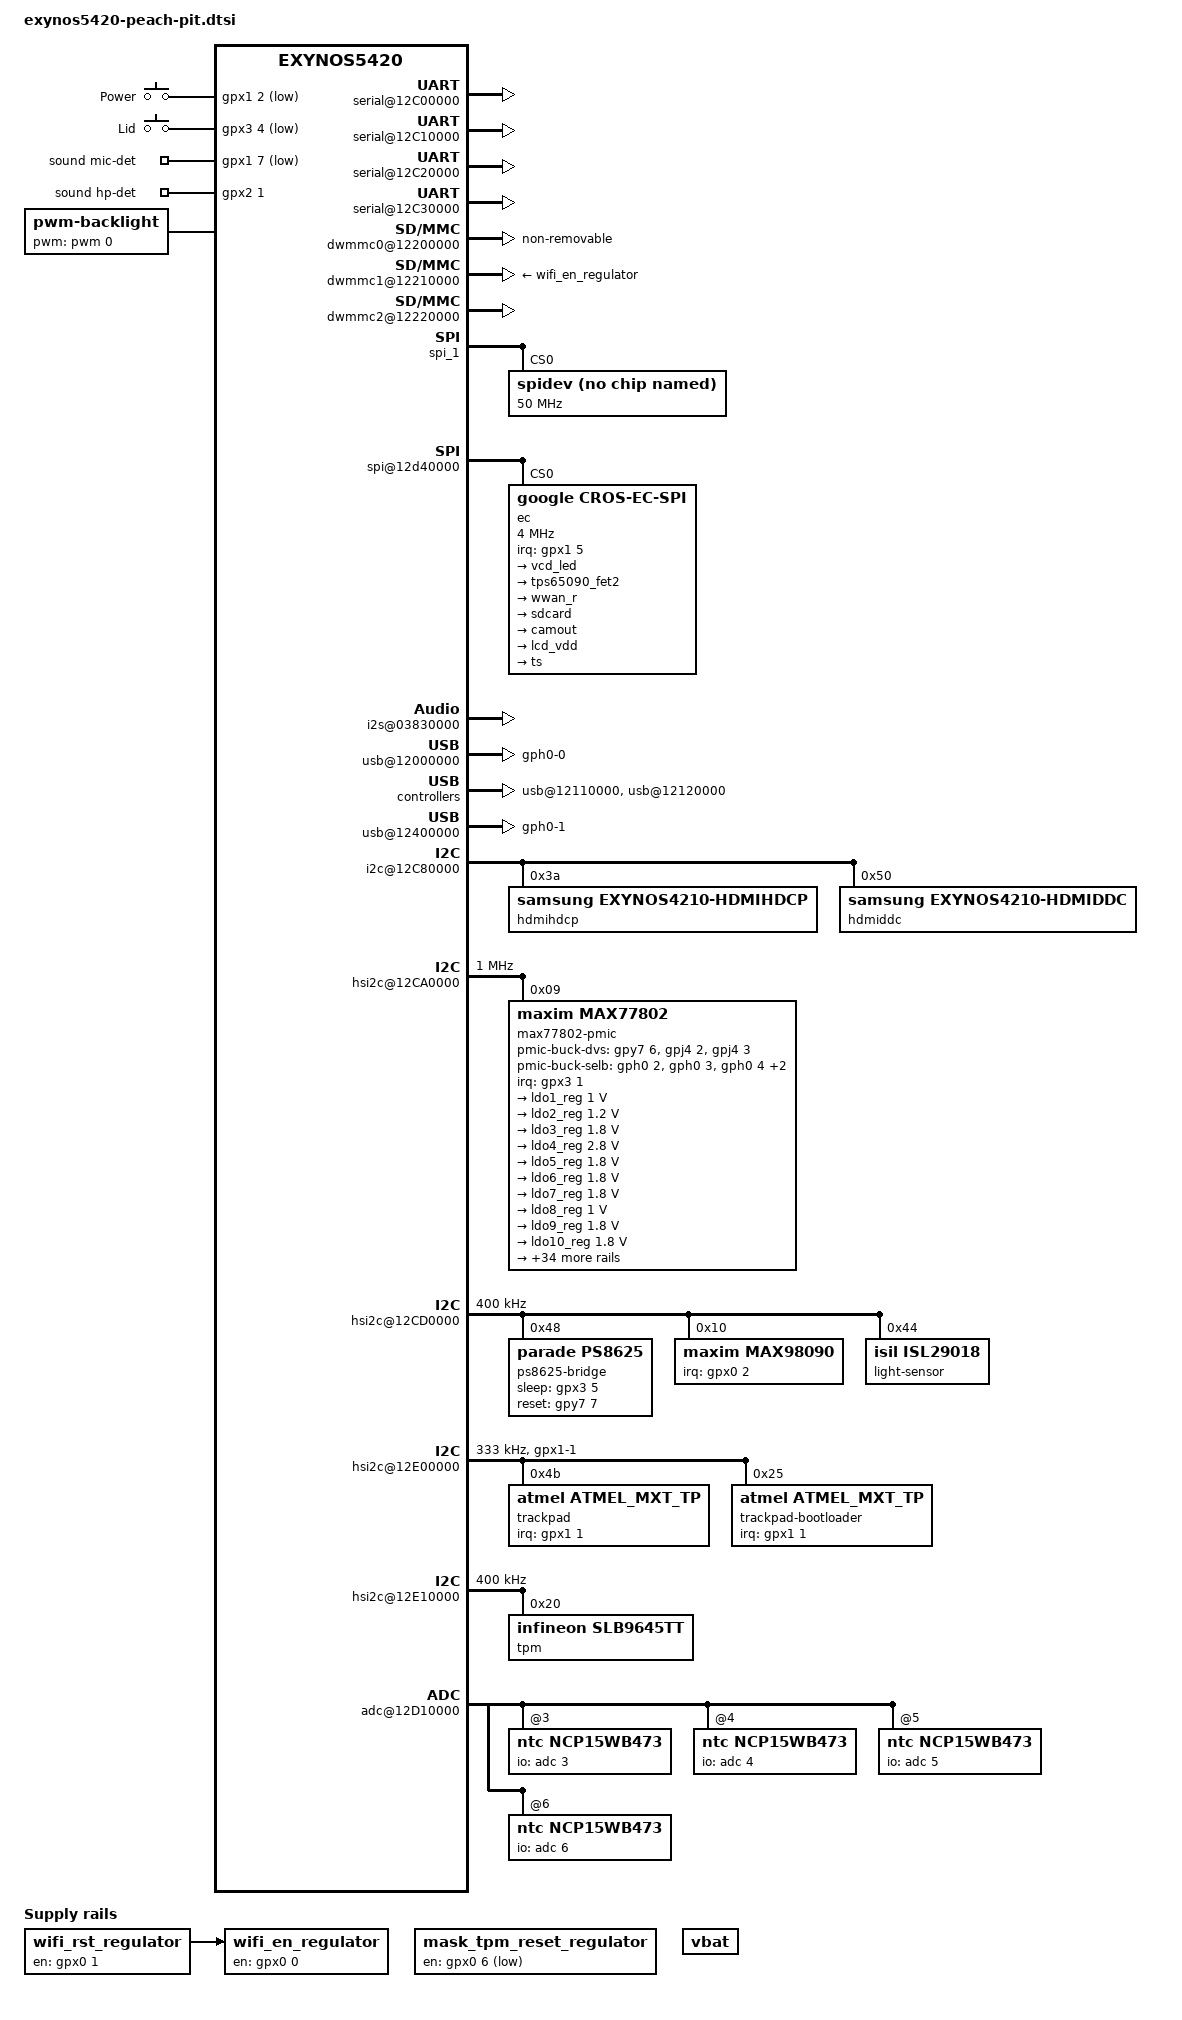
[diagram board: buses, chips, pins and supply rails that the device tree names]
/*
 * Common device tree include for all Peach Pit board revisions
 *
 * Copyright (c) 2013 Google, Inc
 *
 * This program is free software; you can redistribute it and/or modify
 * it under the terms of the GNU General Public License version 2 as
 * published by the Free Software Foundation.
 */

/ {
	aliases {
		i2c20 = &i2c_20;
	};

	chosen {
		bootargs = "";
	};

	firmware {
		chromeos {
			write-protect-gpio = <&gpx3 0 1>;

			pinctrl-names = "default";
			pinctrl-0 = <&wp_gpio>;

			nonvolatile-context-storage = "mkbp";
			chromeos-vbc-ec = <&ec>;
		};
	};

	fixed-rate-clocks {
		xxti {
			compatible = "samsung,clock-xxti";
			clock-frequency = <24000000>;
		};
	};

	pinctrl@13400000 {
		dp_hpd: dp-hpd {
			samsung,pins = "gpx2-6";
			samsung,pin-function = <0>;
			samsung,pin-pud = <3>;
			samsung,pin-drv = <0>;
		};

		ec_irq: ec-irq {
			samsung,pins = "gpx1-5";
			samsung,pin-function = <0>;
			samsung,pin-pud = <0>;
			samsung,pin-drv = <0>;
		};

		hp_det_gpio: hp-det-gpio {
			samsung,pins = "gpx2-1";
			samsung,pin-function = <0>;
			samsung,pin-pud = <0>;
			samsung,pin-drv = <0>;
		};

		hsic_reset: hsic-reset {
			samsung,pins = "gpx2-4";
			samsung,pin-function = <1>;
			samsung,pin-pud = <0>;
			samsung,pin-drv = <0>;
		};

		lid_irq: lid-irq {
			samsung,pins = "gpx3-4";
			samsung,pin-function = <0>;
			samsung,pin-pud = <0>;
			samsung,pin-drv = <0>;
		};

		mask_tpm_reset: mask-tpm-reset {
			samsung,pins = "gpx0-6";
			samsung,pin-function = <1>;
			samsung,pin-pud = <0>;
			samsung,pin-drv = <0>;
		};

		max77802_irq: max77802-irq {
			samsung,pins = "gpx3-1";
			samsung,pin-function = <0>;
			samsung,pin-pud = <0>;
			samsung,pin-drv = <0>;
		};

		max98090_irq: max98090-irq {
			samsung,pins = "gpx0-2";
			samsung,pin-function = <0>;
			samsung,pin-pud = <0>;
			samsung,pin-drv = <0>;
		};

		mic_det_gpio: mic-det-gpio {
			samsung,pins = "gpx1-7";
			samsung,pin-function = <0>;
			samsung,pin-pud = <0>;
			samsung,pid-drv = <0>;
		};

		pmic_dvs_1: pmic-dvs-1 {
			samsung,pins = "gpy7-6";
			samsung,pin-function = <1>;
			samsung,pin-pud = <0>;
			samsung,pin-drv = <0>;
		};

		power_key_irq: power-key-irq {
			samsung,pins = "gpx1-2";
			samsung,pin-function = <0>;
			samsung,pin-pud = <0>;
			samsung,pin-drv = <0>;
		};

		ps8625_reset: ps8625-reset {
			samsung,pins = "gpy7-7";
			samsung,pin-function = <1>;
			samsung,pin-pud = <0>;
			samsung,pin-drv = <0>;
		};

		ps8625_sleep: ps8625-sleep {
			samsung,pins = "gpx3-5";
			samsung,pin-function = <1>;
			samsung,pin-pud = <0>;
			samsung,pin-drv = <0>;
		};

		tpm_irq: tpm-irq {
			samsung,pins = "gpx1-0";
			samsung,pin-function = <0>;
			samsung,pin-pud = <0>;
			samsung,pin-drv = <0>;
		};

		tps65090_irq: tps65090-irq {
			samsung,pins = "gpx2-5";
			samsung,pin-function = <0>;
			samsung,pin-pud = <0>;
			samsung,pin-drv = <0>;
		};

		trackpad_irq: trackpad-irq {
			samsung,pins = "gpx1-1";
			samsung,pin-function = <0>;
			samsung,pin-pud = <0>;
			samsung,pin-drv = <0>;
		};

		wifi_en: wifi-en {
			samsung,pins = "gpx0-0";
			samsung,pin-function = <1>;
			samsung,pin-pud = <0>;
			samsung,pin-drv = <0>;
		};

		wifi_rst: wifi-rst {
			samsung,pins = "gpx0-1";
			samsung,pin-function = <1>;
			samsung,pin-pud = <0>;
			samsung,pin-drv = <0>;
		};

		wp_gpio: wp-gpio {
			samsung,pins = "gpx3-0";
			samsung,pin-function = <0>;
			samsung,pin-pud = <0>;
			samsung,pin-drv = <0>;
		};
	};

	pinctrl@13410000 {
		/* Adjust WiFi drive strengths lower for EMI */
		sd1_clk: sd1-clk {
			samsung,pin-drv = <0>;
		};
		sd1_cmd: sd1-cmd {
			samsung,pin-drv = <0>;
		};
		sd1_bus4: sd1-bus-width4 {
			samsung,pin-drv = <0>;
		};
		sd1_bus8: sd1-bus-width8 {
			samsung,pin-drv = <0>;
		};
	};

	pinctrl@14000000 {
		pmic_dvs_2: pmic-dvs-2 {
			samsung,pins = "gpj4-2";
			samsung,pin-function = <1>;
			samsung,pin-pud = <0>;
			samsung,pin-drv = <0>;
		};

		pmic_dvs_3: pmic-dvs-3 {
			samsung,pins = "gpj4-3";
			samsung,pin-function = <1>;
			samsung,pin-pud = <0>;
			samsung,pin-drv = <0>;
		};
	};

	pinctrl@14010000 {
		/*
		 * TODO(sjg@chromium.org: Do we need this
		 * drive strength 3? Need to test.
		 */
		ec_spi_cs: ec-spi-cs {
			samsung,pins = "gpb1-2";
			samsung,pin-function = <1>;
			samsung,pin-pud = <0>;
			samsung,pin-drv = <3>;
		};

		spi_flash_cs: spi-flash-cs {
			samsung,pins = "gpa2-5";
			samsung,pin-function = <1>;
			samsung,pin-pud = <0>;
			samsung,pin-drv = <3>;
		};

		usb3_vbus0_en: usb3-vbus0-en {
			samsung,pins = "gph0-0";
			samsung,pin-function = <1>;
			samsung,pin-pud = <0>;
			samsung,pin-drv = <0>;
		};

		usb3_vbus1_en: usb3-vbus1-en {
			samsung,pins = "gph0-1";
			samsung,pin-function = <1>;
			samsung,pin-pud = <0>;
			samsung,pin-drv = <0>;
		};

		pmic_selb: pmic-selb {
			samsung,pins = "gph0-2", "gph0-3", "gph0-4", "gph0-5",
				       "gph0-6";
			samsung,pin-function = <1>;
			samsung,pin-pud = <0>;
			samsung,pin-drv = <0>;
		};

		backlight_pwm: backlight-pwm {
			samsung,pins = "gpb2-0";
			samsung,pin-function = <2>;
			samsung,pin-pud = <0>;
			samsung,pin-drv = <0>;
		};
	};

	gpio-keys {
		compatible = "gpio-keys";

		pinctrl-names = "default";
		pinctrl-0 = <&power_key_irq &lid_irq>;

		power {
			label = "Power";
			gpios = <&gpx1 2 1>;
			linux,code = <116>; /* KEY_POWER */
			gpio-key,wakeup;
		};

		lid-switch {
			label = "Lid";
			gpios = <&gpx3 4 1>;
			linux,input-type = <5>; /* EV_SW */
			linux,code = <0>; /* SW_LID */
			debounce-interval = <1>;
			gpio-key,wakeup;
		};
	};

	ramoops {
		compatible = "ramoops";
		reg = <0x41f00000 0x00100000>;
		record-size = <0x00020000>;
		dump-oops;
	};

	watchdog {
		status = "okay";
	};

	rtc {
		status = "okay";
	};

	/* TODO: Should only enable UART3? */
	serial@12C00000 {
		status = "okay";
	};

	serial@12C10000 {
		status = "okay";
	};

	serial@12C20000 {
		status = "okay";
	};

	serial@12C30000 {
		status = "okay";
	};

	codec@11000000 {
		samsung,mfc-r = <0x43000000 0x800000>;
		samsung,mfc-l = <0x51000000 0x800000>;
	};

	dwmmc0@12200000 {
		status = "okay";
		num-slots = <1>;
		broken-cd;
		bypass-smu;
		supports-highspeed;
		non-removable;
		fifo-depth = <0x40>;
		card-detect-delay = <200>;
		samsung,dw-mshc-ciu-div = <3>;
		samsung,dw-mshc-sdr-timing = <0 4>;
		samsung,dw-mshc-ddr-timing = <0 2>;
		pinctrl-names = "default";
		pinctrl-0 = <&sd0_clk &sd0_cmd &sd0_bus4 &sd0_bus8>;
		slot@0 {
			reg = <0>;
			bus-width = <8>;
		};
	};

	dwmmc1@12210000 {
		/*
		 * The current best way to ensure that reset/enable and clocks
		 * are available before we try to probe the WiFi card is through
		 * a chain of regulators.
		 */
		vmmc-supply = <&wifi_en_regulator>;

		status = "okay";
		num-slots = <1>;
		supports-highspeed;
		keep-power-in-suspend;
		/* non-removable NOT set so mwifiex driver can use reset trick */
		broken-cd;
		bypass-smu;
		fifo-depth = <0x40>;
		card-detect-delay = <200>;
		clock-frequency = <400000000>;
		samsung,dw-mshc-ciu-div = <3>;
		samsung,dw-mshc-sdr-timing = <4 4>;
		samsung,dw-mshc-ddr-timing = <0 2>;
		pinctrl-names = "default";
		pinctrl-0 = <&sd1_clk &sd1_cmd &sd1_int &sd1_bus4 &sd1_bus8>;
		slot@0 {
			reg = <0>;
			bus-width = <4>;
		};
	};

	dwmmc2@12220000 {
		status = "okay";
		num-slots = <1>;
		supports-highspeed;
		fifo-depth = <0x40>;
		card-detect-delay = <200>;
		samsung,dw-mshc-ciu-div = <3>;
		samsung,dw-mshc-sdr-timing = <2 3>;
		samsung,dw-mshc-ddr-timing = <1 2>;
		pinctrl-names = "default";
		pinctrl-0 = <&sd2_clk &sd2_cmd &sd2_cd &sd2_bus4>;
		slot@0 {
			reg = <0>;
			bus-width = <4>;
			wp-gpios = <&gpc4 0 0>;
		};
	};

	/* TODO: Add fimd, display port, etc */

	spi_1: spi@12d30000 {
		status = "okay";
		samsung,spi-src-clk = <0>;
		num-cs = <1>;

		spidev@0 {
			compatible = "spidev";
			reg = <0>;
			spi-max-frequency = <50000000>;
			pinctrl-names = "default";
			pinctrl-0 = <&spi_flash_cs>;

			controller-data {
				cs-gpio = <&gpa2 5 0>;
				samsung,spi-feedback-delay = <2>;
			};
		};
	};

	/* spi_2 */
	spi@12d40000 {
		status = "okay";
		samsung,spi-src-clk = <0>;
		num-cs = <1>;
		ec: cros-ec@0 {
			compatible = "google,cros-ec-spi";

			spi-max-frequency = <4000000>;

			pinctrl-names = "default";
			pinctrl-0 = <&ec_spi_cs &ec_irq>;

			reg = <0>;
			interrupts = <5 0>;
			interrupt-parent = <&gpx1>;

			controller-data {
				cs-gpio = <&gpb1 2 0>;

				samsung,spi-feedback-delay = <2>;
			};

			/* Arbitrarily assign bus 20 since past exynos range */
			i2c_20: i2c-tunnel {
				compatible = "google,cros-ec-i2c-tunnel";
				#address-cells = <1>;
				#size-cells = <0>;

				google,remote-bus = <0>;
				power-regulator@48 {
					compatible = "ti,tps65090";
					reg = <0x48>;

					/*
					 * Config irq to disable internal pulls
					 * even though we run in polling mode.
					 */
					pinctrl-names = "default";
					pinctrl-0 = <&tps65090_irq>;

					vsys1-supply = <&vbat>;
					vsys2-supply = <&vbat>;
					vsys3-supply = <&vbat>;
					infet1-supply = <&vbat>;
					infet2-supply = <&vbat>;
					infet3-supply = <&vbat>;
					infet4-supply = <&vbat>;
					infet5-supply = <&vbat>;
					infet6-supply = <&vbat>;
					infet7-supply = <&vbat>;
					vsys-l1-supply = <&vbat>;
					vsys-l2-supply = <&vbat>;

					regulators {
						dcdc1 {
							ti,enable-ext-control;
						};
						dcdc2 {
							ti,enable-ext-control;
						};
						dcdc3 {
							ti,enable-ext-control;
						};
						fet1 {
							regulator-name = "vcd_led";
						};
						tps65090_fet2: fet2 {
							regulator-name = "video_mid";
							regulator-always-on;
						};
						fet3 {
							regulator-name = "wwan_r";
							regulator-always-on;
						};
						fet4 {
							regulator-name = "sdcard";
							regulator-always-on;
						};
						fet5 {
							regulator-name = "camout";
							regulator-always-on;
						};
						fet6 {
							regulator-name = "lcd_vdd";
						};
						fet7 {
							regulator-name = "ts";
						};
						ldo1 {
						};
						ldo2 {
						};
					};

					charger {
						compatible = "ti,tps65090-charger";
					};
				};

				battery: sbs-battery@b {
					compatible = "sbs,sbs-battery";
					reg = <0xb>;
					sbs,poll-retry-count = <1>;
				};
			};

			keyboard-controller {
				compatible = "google,cros-ec-keyb";
				keypad,num-rows = <8>;
				keypad,num-columns = <13>;
				google,needs-ghost-filter;
				linux,keymap = <0x0001007d	/* L_META */
						0x0002003b	/* F1 */
						0x00030030	/* B */
						0x00040044	/* F10 */
						0x00060031	/* N */
						0x0008000d	/* = */
						0x000a0064	/* R_ALT */

						0x01010001	/* ESC */
						0x0102003e	/* F4 */
						0x01030022	/* G */
						0x01040041	/* F7 */
						0x01060023	/* H */
						0x01080028	/* ' */
						0x01090043	/* F9 */
						0x010b000e	/* BKSPACE */

						0x0200001d	/* L_CTRL */
						0x0201000f	/* TAB */
						0x0202003d	/* F3 */
						0x02030014	/* T */
						0x02040040	/* F6 */
						0x0205001b	/* ] */
						0x02060015	/* Y */
						0x02070056	/* 102ND */
						0x0208001a	/* [ */
						0x02090042	/* F8 */

						0x03010029	/* GRAVE */
						0x0302003c	/* F2 */
						0x03030006	/* 5 */
						0x0304003f	/* F5 */
						0x03060007	/* 6 */
						0x0308000c	/* - */
						0x030b002b	/* \ */

						0x04000061	/* R_CTRL */
						0x0401001e	/* A */
						0x04020020	/* D */
						0x04030021	/* F */
						0x0404001f	/* S */
						0x04050025	/* K */
						0x04060024	/* J */
						0x04080027	/* ; */
						0x04090026	/* L */
						0x040a002b	/* \ */
						0x040b001c	/* ENTER */

						0x0501002c	/* Z */
						0x0502002e	/* C */
						0x0503002f	/* V */
						0x0504002d	/* X */
						0x05050033	/* , */
						0x05060032	/* M */
						0x0507002a	/* L_SHIFT */
						0x05080035	/* / */
						0x05090034	/* . */
						0x050B0039	/* SPACE */

						0x06010002	/* 1 */
						0x06020004	/* 3 */
						0x06030005	/* 4 */
						0x06040003	/* 2 */
						0x06050009	/* 8 */
						0x06060008	/* 7 */
						0x0608000b	/* 0 */
						0x0609000a	/* 9 */
						0x060a0038	/* L_ALT */
						0x060b006c	/* DOWN */
						0x060c006a	/* RIGHT */

						0x07010010	/* Q */
						0x07020012	/* E */
						0x07030013	/* R */
						0x07040011	/* W */
						0x07050017	/* I */
						0x07060016	/* U */
						0x07070036	/* R_SHIFT */
						0x07080019	/* P */
						0x07090018	/* O */
						0x070b0067	/* UP */
						0x070c0069>;	/* LEFT */
			};
		};
	};

	/* i2s_0 */
	i2s@03830000 {
		status = "okay";
	};

	/* dw usb3_0 */
	usb@12000000 {
		status = "okay";
		samsung,vbus-gpio = <&gph0 0 0>;
		pinctrl-names = "default";
		pinctrl-0 = <&usb3_vbus0_en>;
	};

	/* ehci */
	usb@12110000 {
		status = "okay";
	};

	/* ohci */
	usb@12120000 {
		status = "okay";
	};

	/* dw usb3_1 */
	usb@12400000 {
		status = "okay";
		samsung,vbus-gpio = <&gph0 1 0>;
		pinctrl-names = "default";
		pinctrl-0 = <&usb3_vbus1_en>;
	};

	usb3_phy0: usbphy@12100000 {
		samsung,txpreempamptune = <0x1>;
	};

	usb2_phy: usbphy@12130000 {
		samsung,hsic-reset-gpio = <&gpx2 4 1>;
		pinctrl-names = "default";
		pinctrl-0 = <&hsic_reset>;
	};

	usb3_phy1: usbphy@12500000 {
		samsung,txpreempamptune = <0x1>;
	};

	/* i2c2 */
	i2c@12C80000 {
		status = "okay";
		samsung,i2c-sda-delay = <100>;
		samsung,i2c-max-bus-freq = <66000>;

		hdmihdcp@3a {
			compatible = "samsung,exynos4210-hdmihdcp";
			reg = <0x3a>;
		};

		hdmiddc@50 {
			compatible = "samsung,exynos4210-hdmiddc";
			reg = <0x50>;
		};
	};

	/* hsi2c4 */
	hsi2c@12CA0000 {
		status = "okay";
		samsung,hs-mode;
		clock-frequency = <1000000>;

		max77802-pmic@9 {
			compatible = "maxim,max77802";
			interrupt-parent = <&gpx3>;
			interrupts = <1 0>;
			pinctrl-names = "default";
			pinctrl-0 = <&max77802_irq>, <&pmic_selb>,
				    <&pmic_dvs_1>, <&pmic_dvs_2>, <&pmic_dvs_3>;
			wakeup-source;
			reg = <0x9>;

			/* Using idx 1 means warm reset will get good voltage */
			max77xxx,pmic-buck-default-dvs-idx = <1>;
			max77xxx,pmic-buck-dvs-gpios = <&gpy7 6 0>,
						       <&gpj4 2 0>,
						       <&gpj4 3 0>;
			max77xxx,pmic-buck-selb-gpios = <&gph0 2 0>,
							<&gph0 3 0>,
							<&gph0 4 0>,
							<&gph0 5 0>,
							<&gph0 6 0>;

			voltage-regulators {
				ldo1_reg: LDO1 {
					regulator-name = "vdd_1v0";
					regulator-min-microvolt = <1000000>;
					regulator-max-microvolt = <1000000>;
					regulator-always-on;
					regulator-op-mode = <2>;
				};
				ldo2_reg: LDO2 {
					regulator-name = "vdd_1v2";
					regulator-min-microvolt = <1200000>;
					regulator-max-microvolt = <1200000>;
				};
				ldo3_reg: LDO3 {
					regulator-name = "vdd_1v8_3";
					regulator-min-microvolt = <1800000>;
					regulator-max-microvolt = <1800000>;
					regulator-always-on;
					regulator-op-mode = <2>;
				};
				ldo4_reg: LDO4 {
					regulator-name = "vdd_sd";
					regulator-min-microvolt = <2800000>;
					regulator-max-microvolt = <2800000>;
					regulator-always-on;
					regulator-op-mode = <1>;
				};
				ldo5_reg: LDO5 {
					regulator-name = "vdd_1v8_5";
					regulator-min-microvolt = <1800000>;
					regulator-max-microvolt = <1800000>;
					regulator-always-on;
					regulator-op-mode = <1>;
				};
				ldo6_reg: LDO6 {
					regulator-name = "vdd_1v8_6";
					regulator-min-microvolt = <1800000>;
					regulator-max-microvolt = <1800000>;
					regulator-always-on;
					regulator-op-mode = <1>;
				};
				ldo7_reg: LDO7 {
					regulator-name = "vdd_1v8_7";
					regulator-min-microvolt = <1800000>;
					regulator-max-microvolt = <1800000>;
				};
				ldo8_reg: LDO8 {
					regulator-name = "vdd_ldo8";
					regulator-min-microvolt = <1000000>;
					regulator-max-microvolt = <1000000>;
					regulator-always-on;
					regulator-op-mode = <1>;
				};
				ldo9_reg: LDO9 {
					regulator-name = "vdd_ldo9";
					regulator-min-microvolt = <1800000>;
					regulator-max-microvolt = <1800000>;
					regulator-always-on;
					regulator-op-mode = <2>;
				};
				ldo10_reg: LDO10 {
					regulator-name = "vdd_ldo10";
					regulator-min-microvolt = <1800000>;
					regulator-max-microvolt = <1800000>;
					regulator-always-on;
					regulator-op-mode = <1>;
				};
				ldo11_reg: LDO11 {
					regulator-name = "vdd_ldo11";
					regulator-min-microvolt = <1800000>;
					regulator-max-microvolt = <1800000>;
					regulator-always-on;
					regulator-op-mode = <2>;
				};
				ldo12_reg: LDO12 {
					regulator-name = "vdd_ldo12";
					regulator-min-microvolt = <3000000>;
					regulator-max-microvolt = <3000000>;
					regulator-always-on;
					regulator-op-mode = <1>;
				};
				ldo13_reg: LDO13 {
					regulator-name = "vdd_ldo13";
					regulator-min-microvolt = <1800000>;
					regulator-max-microvolt = <1800000>;
					regulator-always-on;
					regulator-op-mode = <2>;
				};
				ldo14_reg: LDO14 {
					regulator-name = "vdd_ldo14";
					regulator-min-microvolt = <1800000>;
					regulator-max-microvolt = <1800000>;
					regulator-always-on;
					regulator-op-mode = <1>;
				};
				ldo15_reg: LDO15 {
					regulator-name = "vdd_ldo15";
					regulator-min-microvolt = <1000000>;
					regulator-max-microvolt = <1000000>;
					regulator-always-on;
					regulator-op-mode = <1>;
				};
				ldo17_reg: LDO17 {
					regulator-name = "vdd_g3ds";
					regulator-min-microvolt = <900000>;
					regulator-max-microvolt = <1400000>;
					regulator-always-on;
					regulator-op-mode = <1>;
				};
				ldo18_reg: LDO18 {
					regulator-name = "ldo_18";
					regulator-min-microvolt = <1800000>;
					regulator-max-microvolt = <1800000>;
				};
				ldo19_reg: LDO19 {
					regulator-name = "ldo_19";
					regulator-min-microvolt = <1800000>;
					regulator-max-microvolt = <1800000>;
				};
				ldo20_reg: LDO20 {
					regulator-name = "ldo_20";
					regulator-min-microvolt = <1800000>;
					regulator-max-microvolt = <1800000>;
					regulator-always-on;
					regulator-op-mode = <0>;
				};
				ldo21_reg: LDO21 {
					regulator-name = "ldo_21";
					regulator-min-microvolt = <2800000>;
					regulator-max-microvolt = <2800000>;
				};
				ldo23_reg: LDO23 {
					regulator-name = "ld0_23";
					regulator-min-microvolt = <3300000>;
					regulator-max-microvolt = <3300000>;
				};
				ldo24_reg: LDO24 {
					regulator-name = "ldo_24";
					regulator-min-microvolt = <2800000>;
					regulator-max-microvolt = <2800000>;
				};
				ldo25_reg: LDO25 {
					regulator-name = "ldo_25";
					regulator-min-microvolt = <3300000>;
					regulator-max-microvolt = <3300000>;
				};
				ldo26_reg: LDO26 {
					regulator-name = "ldo_26";
					regulator-min-microvolt = <1200000>;
					regulator-max-microvolt = <1200000>;
				};
				ldo27_reg: LDO27 {
					regulator-name = "ldo_27";
					regulator-min-microvolt = <1200000>;
					regulator-max-microvolt = <1200000>;
				};
				ldo28_reg: LDO28 {
					regulator-name = "ldo_28";
					regulator-min-microvolt = <1800000>;
					regulator-max-microvolt = <1800000>;
				};
				ldo29_reg: LDO29 {
					regulator-name = "ldo_29";
					regulator-min-microvolt = <1800000>;
					regulator-max-microvolt = <1800000>;
				};
				ldo30_reg: LDO30 {
					regulator-name = "vdd_mifs";
					regulator-min-microvolt = <900000>;
					regulator-max-microvolt = <1050000>;
					regulator-always-on;
				};
				ldo32_reg: LDO32 {
					regulator-name = "ldo_32";
					regulator-min-microvolt = <3000000>;
					regulator-max-microvolt = <3000000>;
				};
				ldo33_reg: LDO33 {
					regulator-name = "ldo_33";
					regulator-min-microvolt = <2800000>;
					regulator-max-microvolt = <2800000>;
				};
				ldo34_reg: LDO34 {
					regulator-name = "ldo_34";
					regulator-min-microvolt = <3000000>;
					regulator-max-microvolt = <3000000>;
				};
				ldo35_reg: LDO35 {
					regulator-name = "ldo_35";
					regulator-min-microvolt = <1200000>;
					regulator-max-microvolt = <1200000>;
				};
				buck1_reg: BUCK1 {
					regulator-name = "vdd_mif";
					regulator-min-microvolt = <900000>;
					regulator-max-microvolt = <1300000>;
					regulator-always-on;
					regulator-boot-on;
					regulator-op-mode = <1>;
					regulator-ramp-delay = <12500>;
				};
				buck2_reg: BUCK2 {
					regulator-name = "vdd_arm";
					regulator-min-microvolt = <800000>;
					regulator-max-microvolt = <1500000>;
					regulator-always-on;
					regulator-boot-on;
					regulator-op-mode = <1>;
					regulator-ramp-delay = <12500>;
				};
				buck3_reg: BUCK3 {
					regulator-name = "vdd_int";
					regulator-min-microvolt = <800000>;
					regulator-max-microvolt = <1400000>;
					regulator-always-on;
					regulator-boot-on;
					regulator-op-mode = <1>;
					regulator-ramp-delay = <12500>;
				};
				buck4_reg: BUCK4 {
					regulator-name = "vdd_g3d";
					regulator-min-microvolt = <800000>;
					regulator-max-microvolt = <1400000>;
					/*
					 * TODO(sjg@chromium.org): Maybe remove
					 * this once things are hooked up.
					 */
					regulator-always-on;
					regulator-boot-on;
					regulator-op-mode = <1>;
					regulator-ramp-delay = <12500>;
				};
				buck5_reg: BUCK5 {
					regulator-name = "vdd_1v2";
					regulator-min-microvolt = <1200000>;
					regulator-max-microvolt = <1200000>;
					regulator-always-on;
					regulator-boot-on;
					regulator-op-mode = <1>;
				};
				buck6_reg: BUCK6 {
					regulator-name = "vdd_kfc";
					regulator-min-microvolt = <800000>;
					regulator-max-microvolt = <1500000>;
					/*
					 * TODO(sjg@chromium.org): Can this
					 * be powered off?
					 */
					regulator-always-on;
					regulator-boot-on;
					regulator-op-mode = <1>;
					regulator-ramp-delay = <12500>;
				};
				buck7_reg: BUCK7 {
					regulator-name = "vdd_1v35";
					regulator-min-microvolt = <1350000>;
					regulator-max-microvolt = <1350000>;
					regulator-always-on;
					regulator-boot-on;
					regulator-op-mode = <3>;
				};
				buck8_reg: BUCK8 {
					regulator-name = "vdd_emmc";
					regulator-min-microvolt = <2850000>;
					regulator-max-microvolt = <2850000>;
					regulator-always-on;
					regulator-boot-on;
					regulator-op-mode = <1>;
				};
				buck9_reg: BUCK9 {
					regulator-name = "vdd_2v";
					regulator-min-microvolt = <2000000>;
					regulator-max-microvolt = <2000000>;
					regulator-always-on;
					regulator-boot-on;
					regulator-op-mode = <3>;
				};
				buck10_reg: BUCK10 {
					regulator-name = "vdd_1v8";
					regulator-min-microvolt = <1800000>;
					regulator-max-microvolt = <1800000>;
					regulator-always-on;
					regulator-boot-on;
					regulator-op-mode = <3>;
				};
				en32khz_ap: EN32KHZ_AP {
					regulator-name = "en32khz_ap";
					regulator-always-on;
				};
				en32khz_cp: EN32KHZ_CP {
					regulator-name = "en32khz_cp";
					regulator-always-on;
				};
			};

			maxim_rtc: rtc {
			};
		};
	};

	/* hsi2c7 */
	hsi2c@12CD0000 {
		status = "okay";
		clock-frequency = <400000>;

		ps8625-bridge@48 {
			compatible = "parade,ps8625";
			reg = <0x48>;
			sleep-gpio = <&gpx3 5 0>;
			reset-gpio = <&gpy7 7 0>;
			lane-count = <2>;
			use-external-pwm;
			pinctrl-names = "default";
			pinctrl-0 = <&ps8625_sleep &ps8625_reset>;
		};

		max98090: codec@10 {
			compatible = "maxim,max98090";
			reg = <0x10>;
			interrupts = <2 0>;
			interrupt-parent = <&gpx0>;
			mic-left-digital;
			mic-right-digital;
			mclk-pin = <2>;
			pinctrl-names = "default";
			pinctrl-0 = <&max98090_irq>;
		};

		light-sensor@44 {
			compatible = "isil,isl29018";
			reg = <0x44>;
		};
	};

	/* hsi2c8 */
	hsi2c@12E00000 {
		status = "okay";
		clock-frequency = <333000>;

		/*
		 * TODO: for now config the IRQ at the i2c level since
		 * pinctrl can't handle sharing it between two children, even
		 * if one fails to probe.
		 * See crosbug.com/p/20329
		 */
		pinctrl-names = "default";
		pinctrl-0 = <&i2c8_hs_bus &trackpad_irq>;

		/* Only one of the following trackpads should be probed */
		trackpad@4b {
			reg=<0x4b>;
			compatible="atmel,atmel_mxt_tp";
			interrupts=<1 0>;
			interrupt-parent=<&gpx1>;
			wakeup-source;
		};

		trackpad-bootloader@25 {
			reg=<0x25>;
			compatible="atmel,atmel_mxt_tp";
			interrupts=<1 0>;
			interrupt-parent=<&gpx1>;
			wakeup-source;
		};
	};

	/* hsi2c9 */
	hsi2c@12E10000 {
		status = "okay";
		clock-frequency = <400000>;

		tpm@20 {
			/* Unused irq; but still need to configure the pins */
			pinctrl-names = "default";
			pinctrl-0 = <&tpm_irq>;

			compatible = "infineon,slb9645tt";
			reg = <0x20>;
			powered-while-suspended;
		};
	};

	sound {
		compatible = "google,daisy-audio-max98090";
		samsung,i2s-controller = <&i2s_0>;
		samsung,audio-codec = <&max98090>;
		samsung,mic-det-gpios = <&gpx1 7 1>;
		samsung,hp-det-gpios = <&gpx2 1 0>;
		clocks = <&clock 3>, <&clock 4>, <&clock 1025>,
			<&clock 148>, <&clock_audss EXYNOS_MOUT_AUDSS>,
			<&clock_audss EXYNOS_MOUT_I2S>;
		clock-names = "fout_epll", "sclk_epll", "mout_audio0",
			"sclk_audio0", "mout_audss", "mout_i2s";
		pinctrl-names = "default";
		pinctrl-0 = <&mic_det_gpio &hp_det_gpio>;
	};

	fimd {
		samsung,fimd-vidout-rgb;
		samsung,fimd-inv-vclk;
		samsung,default-window = <0>;
		samsung,fimd-win-bpp = <32>;
		samsung,fimd-src-clk-rate = <70500000>;
		samsung,use-fimd-dithering;
		samsung-rgb-dithpos = <6 6 6>;
	};

	lcd_dp0: lcd_panel0 {
		lcd-htiming = <40 40 32 1366>;
		lcd-vtiming = <10 12 6 768>;
	};

	display-port-controller {
		samsung,dp-display = <&lcd_dp0>;
		samsung,dp-frame-rate = <60>;
		samsung,color-space = <0>;
		samsung,dynamic-range = <0>;
		samsung,ycbcr-coeff = <0>;
		samsung,color-depth = <1>;
		samsung,link-rate = <0x06>;
		samsung,lane-count = <2>;
		samsung,hpd-gpio = <&gpx2 6 0>;
		pinctrl-names = "default";
		pinctrl-0 = <&dp_hpd>;
	};

	hdmi {
		hpd-gpio = <&gpx3 7 0>;
		pinctrl-names = "default";
		pinctrl-0 = <&hdmi_hpd_irq>;

		hdmi-en-supply = <&tps65090_fet2>;
		vdd-supply = <&ldo8_reg>;
		vdd_osc-supply = <&ldo10_reg>;
		vdd_pll-supply = <&ldo8_reg>;
	};

	/* Chain regulators to ensure proper Wifi turn on sequence */
	wifi_rst_regulator: wifi-rst-regulator {
		compatible = "regulator-fixed";
		regulator-name = "wifi-rst-l";
		gpio = <&gpx0 1 0>;
		enable-active-high;
		startup-delay-us = <1500>;
		pinctrl-names = "default";
		pinctrl-0 = <&wifi_rst>;

		/*
		 * Technically we should have a vin-supply of the 32k clock.
		 * ...but that causes a deferred probe of this regulator
		 * despite the fact that we don't need to enable it until
		 * much later.  Skip the dependency since we know that the
		 * 32k clock will always be kept on from early boot.
		 *
		 * vin-supply = <&en32khz_cp>;
		 */
	};
	wifi_en_regulator: wifi-en-regulator {
		compatible = "regulator-fixed";
		regulator-name = "wifi-en";
		gpio = <&gpx0 0 0>;
		enable-active-high;
		pinctrl-names = "default";
		pinctrl-0 = <&wifi_en>;
		vin-supply = <&wifi_rst_regulator>;
	};

	/* We need GPX0_6 to be low at sleep time; just keep it low always */
	mask_tpm_reset_regulator: mask-tpm-reset-regulator {
		compatible = "regulator-fixed";
		regulator-name = "mask-tpm-reset ";
		gpio = <&gpx0 6 0>;
		enable-active-low;
		regulator-boot-on;
		regulator-always-on;
		pinctrl-names = "default";
		pinctrl-0 = <&mask_tpm_reset>;
	};

	vbat: fixed-regulator {
		compatible = "regulator-fixed";
		regulator-name = "vbat-supply";
		regulator-boot-on;
		regulator-always-on;
	};

	adc@12D10000 {
		vdd-supply = <&ldo9_reg>;
		ncp15wb473@3 {
			compatible = "ntc,ncp15wb473";
			pullup-uv = <1800000>;
			pullup-ohm = <47000>;
			pulldown-ohm = <0>;
			io-channels = <&adc 3>;
		};
		ncp15wb473@4 {
			compatible = "ntc,ncp15wb473";
			pullup-uv = <1800000>;
			pullup-ohm = <47000>;
			pulldown-ohm = <0>;
			io-channels = <&adc 4>;
		};
		ncp15wb473@5 {
			compatible = "ntc,ncp15wb473";
			pullup-uv = <1800000>;
			pullup-ohm = <47000>;
			pulldown-ohm = <0>;
			io-channels = <&adc 5>;
		};
		ncp15wb473@6 {
			compatible = "ntc,ncp15wb473";
			pullup-uv = <1800000>;
			pullup-ohm = <47000>;
			pulldown-ohm = <0>;
			io-channels = <&adc 6>;
		};
	};

	backlight {
		compatible = "pwm-backlight";
		pwms = <&pwm 0 1000000 0>;
		max-brightness = <2800>;
		default-brightness-level = <2800>;
		pinctrl-0 = <&backlight_pwm>;
		pinctrl-names = "default";
	};

	pinctrl@13400000 {
		gpy7: gpy7 {
			powerdown-settings = <3 3 3 3 3 3 6 2>;
		};
	};
	pinctrl@13410000 {
		gpc0: gpc0 {
			powerdown-settings = <6 3 5 3 3 3 3 3>;
		};
		gpc1: gpc1 {
			powerdown-settings = <6 2 3 2 2 2 2 3>;
		};
		gpc2: gpc2 {
			powerdown-settings = <6 2 2 2 2 2 2>;
		};
		gpc3: gpc3 {
			powerdown-settings = <3 3 3 3>;
		};
		gpc4: gpc4 {
			powerdown-settings = <2 3>;
		};
		gpd1: gpd1 {
			powerdown-settings = <2 6 6 6 2 2 2 2>;
		};
		gpy0: gpy0 {
			powerdown-settings = <2 2 2 2 2 2>;
		};
		gpy1: gpy1 {
			powerdown-settings = <2 2 2 2>;
		};
		gpy2: gpy2 {
			powerdown-settings = <2 2 2 2 2 2>;
		};
		gpy3: gpy3 {
			powerdown-settings = <3 3 3 3 3 3 3 3>;
		};
		gpy4: gpy4 {
			powerdown-settings = <3 3 3 3 3 3 3 3>;
		};
		gpy5: gpy5 {
			powerdown-settings = <3 3 3 3 3 3 3 3>;
		};
		gpy6: gpy6 {
			powerdown-settings = <3 3 3 3 3 3 3 3>;
		};
	};
	pinctrl@14000000 {
		gpe0: gpe0 {
			powerdown-settings = <3 3 3 3 3 3 3 3>;
		};
		gpe1: gpe1 {
			powerdown-settings = <3 3>;
		};
		gpf0: gpf0 {
			powerdown-settings = <3 3 3 3 3 3>;
		};
		gpf1: gpf1 {
			powerdown-settings = <3 3 3 3 3 3 3 3>;
		};
		gpg0: gpg0 {
			powerdown-settings = <3 3 3 3 3 3 3 3>;
		};
		gpg1: gpg1 {
			powerdown-settings = <3 3 3 3 3 3 3 3>;
		};
		gpg2: gpg2 {
			powerdown-settings = <3 1>;
		};
		gpj4: gpj4 {
			powerdown-settings = <3 3 6 6>;
		};
	};
	pinctrl@14010000 {
		gpa0: gpa0 {
			powerdown-settings = <3 3 3 3 3 3 2 2>;
		};
		gpa1: gpa1 {
			powerdown-settings = <3 3 3 3 3 3>;
		};
		gpa2: gpa2 {
			powerdown-settings = <2 2 3 3 6 6 1 6>;
		};
		gpb0: gpb0 {
			powerdown-settings = <3 3 3 3 3>;
		};
		gpb1: gpb1 {
			powerdown-settings = <3 6 6 1 6>;
		};
		gpb2: gpb2 {
			powerdown-settings = <3 3 2 2>;
		};
		gpb3: gpb3 {
			powerdown-settings = <3 3 3 3 2 2 2 2>;
		};
		gpb4: gpb4 {
			powerdown-settings = <2 2>;
		};
		gph0: gph0 {
			powerdown-settings = <6 6 6 6 6 6 6 5>;
		};
	};
	pinctrl@03860000 {
		gpz: gpz {
			powerdown-settings = <6 3 6 3 1 3 3>;
		};
	};
};
